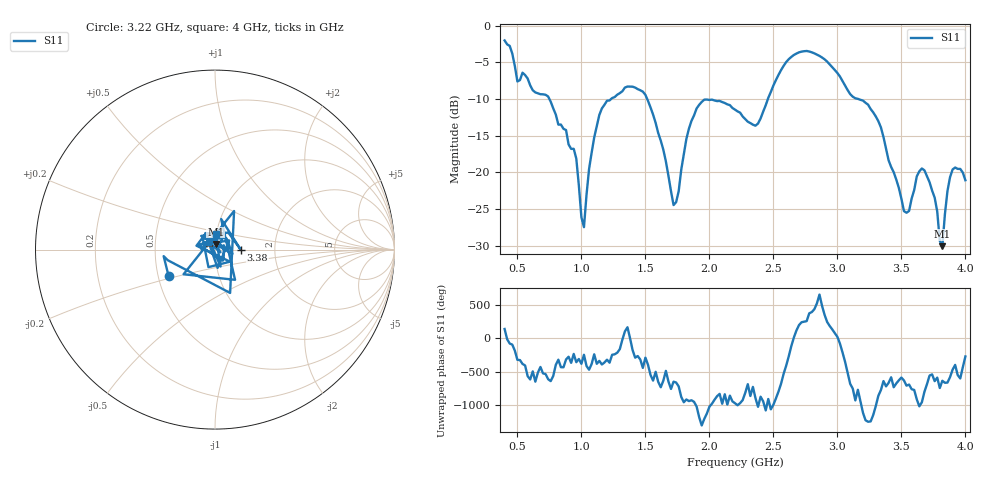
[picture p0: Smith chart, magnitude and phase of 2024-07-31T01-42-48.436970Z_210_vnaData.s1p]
!Created with skrf (http://scikit-rf.org).
# Hz S RI R 50.0
!freq ReS11 ImS11
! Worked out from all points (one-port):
!   181 points, 400 MHz to 4 GHz, reference 50 ohm
!   lowest |S11| = -30.1 dB at 3.82 GHz (marker M1), VSWR 1.06, Z = 50.3 + j3.13 ohm
!   |S11| at or under -10 dB: 749.3 MHz to 1.233 GHz (484 MHz wide, 48.8 % of centre); 1.514 GHz to 2.457 GHz (943.7 MHz wide, 47.5 % of centre); 3.16 GHz to end of sweep
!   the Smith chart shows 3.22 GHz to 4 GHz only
!   S11 on the Smith chart (normalised r, x): 3.22 GHz: 0.57, -0.18; 3.38 GHz: 1.34, -0.01; 4 GHz: 0.99, +0.18
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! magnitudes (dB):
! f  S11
! 400 MHz  -2.0
! 500 MHz  -7.6
! 740 MHz  -9.7
! 860 MHz  -14.1
! 960 MHz  -18.1
! 1.02 GHz  -27.5
! 1.06 GHz  -19.5
! 1.14 GHz  -12.2
! 1.3 GHz  -9.2
! 1.5 GHz  -9.4
! 1.72 GHz  -24.5
! 1.76 GHz  -22.6
! 1.82 GHz  -15.5
! 1.9 GHz  -11.3
! 2.2 GHz  -11.5
! 2.38 GHz  -13.4
! 2.66 GHz  -4.0
! 2.88 GHz  -4.4
! 3.1 GHz  -9.4
! 3.22 GHz  -10.5
! 3.38 GHz  -16.8
! 3.56 GHz  -25.3
! 3.68 GHz  -19.7
! 3.76 GHz  -23.5
! 3.82 GHz  -30.1
! 3.86 GHz  -22.6
! 3.9 GHz  -19.6
! 4 GHz  -21.1
